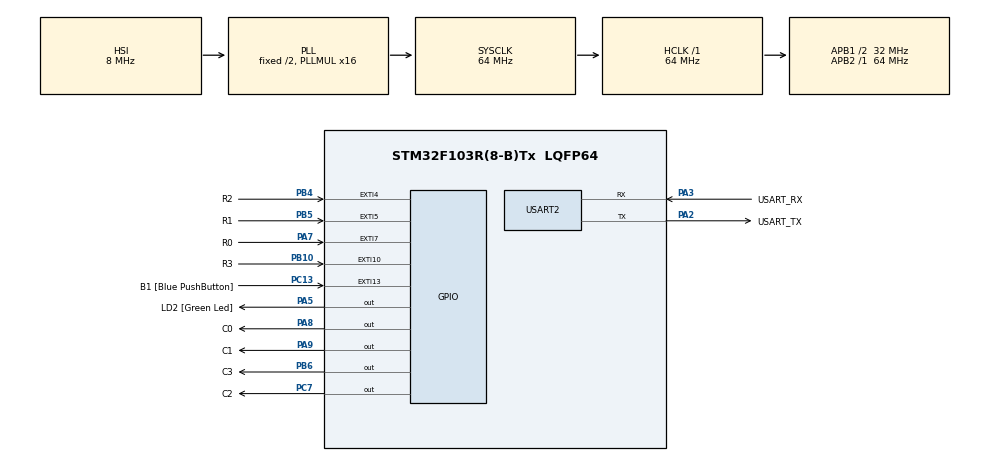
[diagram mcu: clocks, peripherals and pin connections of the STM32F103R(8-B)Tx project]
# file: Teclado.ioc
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Mcu.Family=STM32F1
Mcu.Name=STM32F103R(8-B)Tx
Mcu.Package=LQFP64
NVIC.EXTI15_10_IRQn=true\:0\:0\:false\:false\:true\:true\:true\:true
NVIC.EXTI4_IRQn=true\:0\:0\:false\:false\:true\:true\:true\:true
NVIC.EXTI9_5_IRQn=true\:0\:0\:false\:false\:true\:true\:true\:true
NVIC.PriorityGroup=NVIC_PRIORITYGROUP_4
PA13.GPIO_Label=TMS
PA13.Mode=Serial_Wire
PA13.Signal=SYS_JTMS-SWDIO
PA14.GPIO_Label=TCK
PA14.Mode=Serial_Wire
PA14.Signal=SYS_JTCK-SWCLK
PA2.GPIO_Label=USART_TX
PA2.GPIO_Mode=GPIO_MODE_AF_PP
PA2.GPIO_PuPd=GPIO_NOPULL
PA2.GPIO_Speed=GPIO_SPEED_FREQ_LOW
PA2.Mode=Asynchronous
PA2.Signal=USART2_TX
PA3.GPIO_Label=USART_RX
PA3.GPIO_Mode=GPIO_MODE_AF_PP
PA3.GPIO_PuPd=GPIO_NOPULL
PA3.GPIO_Speed=GPIO_SPEED_FREQ_LOW
PA3.Mode=Asynchronous
PA3.Signal=USART2_RX
PA5.GPIO_Label=LD2 [Green Led]
PA5.GPIO_ModeDefaultOutputPP=GPIO_MODE_OUTPUT_PP
PA5.GPIO_PuPd=GPIO_NOPULL
PA5.GPIO_Speed=GPIO_SPEED_FREQ_LOW
PA5.Signal=GPIO_Output
PA7.GPIO_Label=R0
PA7.GPIO_ModeDefaultEXTI=GPIO_MODE_IT_RISING
PA7.GPIO_PuPd=GPIO_PULLDOWN
PA7.Signal=GPXTI7
PA8.GPIO_Label=C0
PA8.Signal=GPIO_Output
PA9.GPIO_Label=C1
PA9.Signal=GPIO_Output
PB10.GPIO_Label=R3
PB10.GPIO_ModeDefaultEXTI=GPIO_MODE_IT_RISING
PB10.GPIO_PuPd=GPIO_PULLDOWN
PB10.Signal=GPXTI10
PB3.GPIO_Label=SWO
PB3.Signal=SYS_JTDO-TRACESWO
PB4.GPIO_Label=R2
PB4.GPIO_ModeDefaultEXTI=GPIO_MODE_IT_RISING
PB4.GPIO_PuPd=GPIO_PULLDOWN
PB4.Signal=GPXTI4
PB5.GPIO_Label=R1
PB5.GPIO_ModeDefaultEXTI=GPIO_MODE_IT_RISING
PB5.GPIO_PuPd=GPIO_PULLDOWN
PB5.Signal=GPXTI5
PB6.GPIO_Label=C3
PB6.Signal=GPIO_Output
PC13-TAMPER-RTC.GPIO_Label=B1 [Blue PushButton]
PC13-TAMPER-RTC.GPIO_PuPd=GPIO_NOPULL
PC13-TAMPER-RTC.Signal=GPXTI13
PC14-OSC32_IN.Mode=LSE-External-Oscillator
PC14-OSC32_IN.Signal=RCC_OSC32_IN
PC15-OSC32_OUT.Mode=LSE-External-Oscillator
PC15-OSC32_OUT.Signal=RCC_OSC32_OUT
PC7.GPIO_Label=C2
PC7.Signal=GPIO_Output
PD0-OSC_IN.Mode=HSE-External-Clock-Source
PD0-OSC_IN.Signal=RCC_OSC_IN
PD1-OSC_OUT.Mode=HSE-External-Clock-Source
PD1-OSC_OUT.Signal=RCC_OSC_OUT
ProjectManager.HeapSize=0x200
ProjectManager.StackSize=0x400
ProjectManager.TargetToolchain=STM32CubeIDE
RCC.AHBFreq_Value=64000000
RCC.APB1CLKDivider=RCC_HCLK_DIV2
RCC.APB1Freq_Value=32000000
RCC.APB1TimFreq_Value=64000000
RCC.APB2Freq_Value=64000000
RCC.APB2TimFreq_Value=64000000
RCC.HCLKFreq_Value=64000000
RCC.PLLMUL=RCC_PLL_MUL16
RCC.RTCClockSelection=RCC_RTCCLKSOURCE_LSE
RCC.SYSCLKFreq_VALUE=64000000
RCC.SYSCLKSource=RCC_SYSCLKSOURCE_PLLCLK
RCC.USBFreq_Value=64000000
USART2.VirtualMode=VM_ASYNC
board=NUCLEO-F103RB

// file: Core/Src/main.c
/* USER CODE BEGIN Header */
/**
  ******************************************************************************
  * @file           : main.c
  * @brief          : Main program body
  ******************************************************************************
  * @attention
  *
  * Copyright (c) 2025 STMicroelectronics.
  * All rights reserved.
  *
  * This software is licensed under terms that can be found in the LICENSE file
  * in the root directory of this software component.
  * If no LICENSE file comes with this software, it is provided AS-IS.
  *
  ******************************************************************************
  */
/* USER CODE END Header */
#include "main.h"

/* USER CODE BEGIN Includes */

/* Demo includes. */
#include "logger.h"
#include "dwt.h"

/* Application includes. */
#include "app.h"
#include "KEYPAD.h"
#include "KEYPAD_cfg.h"

#include <stdbool.h>
/* USER CODE END Includes */

UART_HandleTypeDef huart2;

/* USER CODE BEGIN PV */
uint8_t gu8_KeyStatesArr[KEYS] = {0}; //Este array guarda los estados de las teclas
uint32_t last_interr = 0;//instante de la última interrupción
uint32_t InterCount = 0; //contados de cuantas veces se ejecuta la ISR. Para debuggear

char letra0;
char letra1;
bool flag_L0 = false; //flag. Cuando ya se leyó la letra 0 es true. Si no es false
GPIO_PinState estado = GPIO_PIN_RESET; //Estado del pin que disparó la interrupción

uint32_t delay = 0;
/* USER CODE END PV */

void SystemClock_Config(void);
static void MX_GPIO_Init(void);
static void MX_USART2_UART_Init(void);

/* USER CODE BEGIN 0 */
extern void initialise_monitor_handles(void);

void HAL_GPIO_EXTI_Callback(uint16_t GPIO_Pin){
	if(HAL_GetTick() - last_interr < 250){
		return;
	}

	for(int i = 0; i < 32767; i++); //Tengo que esperar hasta que el botón se estabilice para poder leerlo
	//¿Cuántos ms son estos? ¿Puedo hacer la espera más corta para hacer la ISR más rápida?
	switch(GPIO_Pin){
		case R0_Pin:
			estado = HAL_GPIO_ReadPin(R0_GPIO_Port, R0_Pin);
			break;
		case R1_Pin:
			estado = HAL_GPIO_ReadPin(R1_GPIO_Port, R1_Pin);
			break;
		case R2_Pin:
			estado = HAL_GPIO_ReadPin(R2_GPIO_Port, R2_Pin);
			break;
		case R3_Pin:
			estado = HAL_GPIO_ReadPin(R3_GPIO_Port, R3_Pin);
			break;
		default:
			break;
	}
	if(estado == GPIO_PIN_RESET)return;

	InterCount++;

	//--------Una vez registrada la interrupción, deshabilito las interrupciones para que el teclado funcione normalmente
	HAL_NVIC_DisableIRQ(EXTI4_IRQn);
	HAL_NVIC_DisableIRQ(EXTI9_5_IRQn);
	HAL_NVIC_DisableIRQ(EXTI15_10_IRQn);
	//--------------------------------------

	if(!flag_L0){
		//hay que leer la letra 0
		KEYPAD_GetChar(0, &letra0);
		flag_L0 = true;
	}else{
		//hay que leer la letra 1
		KEYPAD_GetChar(0, &letra1);
		flag_L0 = false;
	}

	last_interr = HAL_GetTick();

	//Vuelvo a activar las interrupciones

	HAL_NVIC_EnableIRQ(EXTI4_IRQn);
	HAL_NVIC_EnableIRQ(EXTI9_5_IRQn);
	HAL_NVIC_EnableIRQ(EXTI15_10_IRQn);
	HAL_NVIC_ClearPendingIRQ(EXTI4_IRQn);
	HAL_NVIC_ClearPendingIRQ(EXTI9_5_IRQn);
	HAL_NVIC_ClearPendingIRQ(EXTI15_10_IRQn);

	estado = GPIO_PIN_RESET;

}
/* USER CODE END 0 */

int main(void)
{

  /* USER CODE BEGIN 1 */
  initialise_monitor_handles();

  /* USER CODE END 1 */

  /* MCU Configuration--------------------------------------------------------*/

  /* Reset of all peripherals, Initializes the Flash interface and the Systick. */
  HAL_Init();

  /* Configure the system clock */
  SystemClock_Config();

  /* Initialize all configured peripherals */
  MX_GPIO_Init();
  MX_USART2_UART_Init();
  /* USER CODE BEGIN 2 */

	/* Application Init */
	//app_init();
  KEYPAD_Init(0, gu8_KeyStatesArr);
  KEYPAD_Scan(0);

  GPIO_PinState lecturaC0 = HAL_GPIO_ReadPin(C0_GPIO_Port, C0_Pin);
  GPIO_PinState lecturaC1 = HAL_GPIO_ReadPin(C1_GPIO_Port, C1_Pin);
  GPIO_PinState lecturaC2 = HAL_GPIO_ReadPin(C2_GPIO_Port, C2_Pin);
  GPIO_PinState lecturaC3 = HAL_GPIO_ReadPin(C3_GPIO_Port, C3_Pin);

  /* USER CODE END 2 */

  /* Infinite loop */
  /* USER CODE BEGIN WHILE */
  while (1)
  {
	 int maximo = 32767;
	 uint32_t t_ini = HAL_GetTick();
	 for(int i = 0; i < maximo; i++);
	 uint32_t t_fin = HAL_GetTick();
	 delay = t_fin - t_ini;
    /* USER CODE END WHILE */

  }
}

void SystemClock_Config(void)
{
  RCC_OscInitTypeDef RCC_OscInitStruct = {0};
  RCC_ClkInitTypeDef RCC_ClkInitStruct = {0};

  /** Initializes the RCC Oscillators according to the specified parameters
  * in the RCC_OscInitTypeDef structure.
  */
  RCC_OscInitStruct.OscillatorType = RCC_OSCILLATORTYPE_HSI;
  RCC_OscInitStruct.HSIState = RCC_HSI_ON;
  RCC_OscInitStruct.HSICalibrationValue = RCC_HSICALIBRATION_DEFAULT;
  RCC_OscInitStruct.PLL.PLLState = RCC_PLL_ON;
  RCC_OscInitStruct.PLL.PLLSource = RCC_PLLSOURCE_HSI_DIV2;
  RCC_OscInitStruct.PLL.PLLMUL = RCC_PLL_MUL16;
  if (HAL_RCC_OscConfig(&RCC_OscInitStruct) != HAL_OK)
  {
    Error_Handler();
  }

  /** Initializes the CPU, AHB and APB buses clocks
  */
  RCC_ClkInitStruct.ClockType = RCC_CLOCKTYPE_HCLK|RCC_CLOCKTYPE_SYSCLK
                              |RCC_CLOCKTYPE_PCLK1|RCC_CLOCKTYPE_PCLK2;
  RCC_ClkInitStruct.SYSCLKSource = RCC_SYSCLKSOURCE_PLLCLK;
  RCC_ClkInitStruct.AHBCLKDivider = RCC_SYSCLK_DIV1;
  RCC_ClkInitStruct.APB1CLKDivider = RCC_HCLK_DIV2;
  RCC_ClkInitStruct.APB2CLKDivider = RCC_HCLK_DIV1;

  if (HAL_RCC_ClockConfig(&RCC_ClkInitStruct, FLASH_LATENCY_2) != HAL_OK)
  {
    Error_Handler();
  }
}

static void MX_USART2_UART_Init(void)
{

  huart2.Instance = USART2;
  huart2.Init.BaudRate = 115200;
  huart2.Init.WordLength = UART_WORDLENGTH_8B;
  huart2.Init.StopBits = UART_STOPBITS_1;
  huart2.Init.Parity = UART_PARITY_NONE;
  huart2.Init.Mode = UART_MODE_TX_RX;
  huart2.Init.HwFlowCtl = UART_HWCONTROL_NONE;
  huart2.Init.OverSampling = UART_OVERSAMPLING_16;
  if (HAL_UART_Init(&huart2) != HAL_OK)
  {
    Error_Handler();
  }

}

static void MX_GPIO_Init(void)
{
  GPIO_InitTypeDef GPIO_InitStruct = {0};

  /* GPIO Ports Clock Enable */
  __HAL_RCC_GPIOC_CLK_ENABLE();
  __HAL_RCC_GPIOD_CLK_ENABLE();
  __HAL_RCC_GPIOA_CLK_ENABLE();
  __HAL_RCC_GPIOB_CLK_ENABLE();

  /*Configure GPIO pin Output Level */
  HAL_GPIO_WritePin(GPIOA, LD2_Pin|C0_Pin|C1_Pin, GPIO_PIN_RESET);

  /*Configure GPIO pin Output Level */
  HAL_GPIO_WritePin(C2_GPIO_Port, C2_Pin, GPIO_PIN_RESET);

  /*Configure GPIO pin Output Level */
  HAL_GPIO_WritePin(C3_GPIO_Port, C3_Pin, GPIO_PIN_RESET);

  /*Configure GPIO pin : B1_Pin */
  GPIO_InitStruct.Pin = B1_Pin;
  GPIO_InitStruct.Mode = GPIO_MODE_IT_RISING;
  GPIO_InitStruct.Pull = GPIO_NOPULL;
  HAL_GPIO_Init(B1_GPIO_Port, &GPIO_InitStruct);

  /*Configure GPIO pins : LD2_Pin C0_Pin C1_Pin */
  GPIO_InitStruct.Pin = LD2_Pin|C0_Pin|C1_Pin;
  GPIO_InitStruct.Mode = GPIO_MODE_OUTPUT_PP;
  GPIO_InitStruct.Pull = GPIO_NOPULL;
  GPIO_InitStruct.Speed = GPIO_SPEED_FREQ_LOW;
  HAL_GPIO_Init(GPIOA, &GPIO_InitStruct);

  /*Configure GPIO pin : R0_Pin */
  GPIO_InitStruct.Pin = R0_Pin;
  GPIO_InitStruct.Mode = GPIO_MODE_IT_RISING;
  GPIO_InitStruct.Pull = GPIO_PULLDOWN;
  HAL_GPIO_Init(R0_GPIO_Port, &GPIO_InitStruct);

  /*Configure GPIO pins : R3_Pin R2_Pin R1_Pin */
  GPIO_InitStruct.Pin = R3_Pin|R2_Pin|R1_Pin;
  GPIO_InitStruct.Mode = GPIO_MODE_IT_RISING;
  GPIO_InitStruct.Pull = GPIO_PULLDOWN;
  HAL_GPIO_Init(GPIOB, &GPIO_InitStruct);

  /*Configure GPIO pin : C2_Pin */
  GPIO_InitStruct.Pin = C2_Pin;
  GPIO_InitStruct.Mode = GPIO_MODE_OUTPUT_PP;
  GPIO_InitStruct.Pull = GPIO_NOPULL;
  GPIO_InitStruct.Speed = GPIO_SPEED_FREQ_LOW;
  HAL_GPIO_Init(C2_GPIO_Port, &GPIO_InitStruct);

  /*Configure GPIO pin : C3_Pin */
  GPIO_InitStruct.Pin = C3_Pin;
  GPIO_InitStruct.Mode = GPIO_MODE_OUTPUT_PP;
  GPIO_InitStruct.Pull = GPIO_NOPULL;
  GPIO_InitStruct.Speed = GPIO_SPEED_FREQ_LOW;
  HAL_GPIO_Init(C3_GPIO_Port, &GPIO_InitStruct);

  /* EXTI interrupt init*/
  HAL_NVIC_SetPriority(EXTI4_IRQn, 0, 0);
  HAL_NVIC_EnableIRQ(EXTI4_IRQn);

  HAL_NVIC_SetPriority(EXTI9_5_IRQn, 0, 0);
  HAL_NVIC_EnableIRQ(EXTI9_5_IRQn);

  HAL_NVIC_SetPriority(EXTI15_10_IRQn, 0, 0);
  HAL_NVIC_EnableIRQ(EXTI15_10_IRQn);

}

void Error_Handler(void)
{
  __disable_irq();
  while (1)
  {
  }
}
